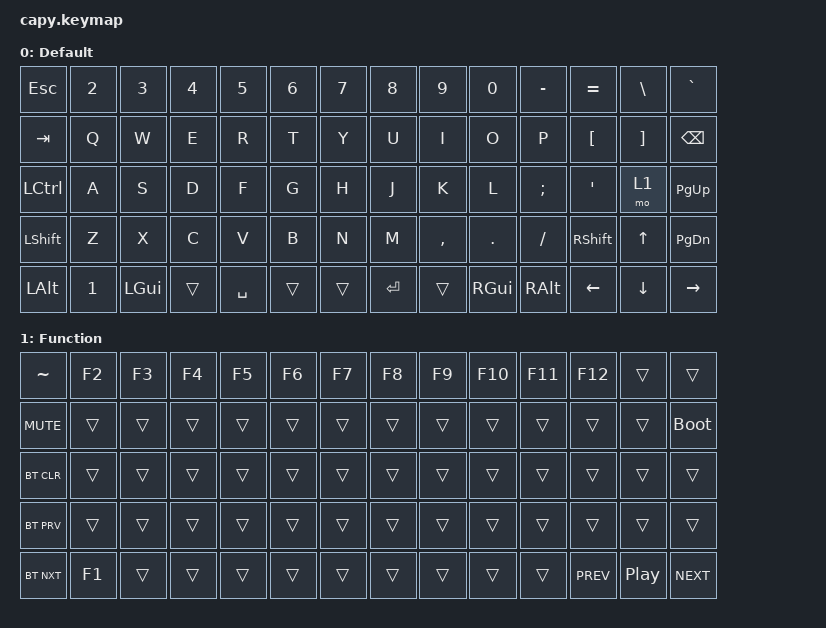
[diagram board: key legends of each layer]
/*
 * Copyright (c) 2022 Atneya Nair
 *
 * SPDX-License-Identifier: MIT
 */

#include <behaviors.dtsi>
#include <dt-bindings/zmk/keys.h>
#include <dt-bindings/zmk/bt.h>

/ {

	keymap {
		compatible = "zmk,keymap";

		default_layer {
			label = "Default";
            // ------------------------------------------------------------------------------------------
            // |  ESC  |  2   |  3   |  4   |  5   |  6   |   7   |  8    |  9   |  0   |   -   |    =  |   \    |   `   |
            // |  TAB  |  Q   |  W   |  E   |  R   |  T   |   Y   |  U    |  I   |  O   |   P   |  [    |    ]   |  BKSP |
            // |  CTRL |  A   |  S   |  D   |  F   |  G   |   H   |  J    |  K   |  L   |   ;   |  '    |   FN   |  PGUP |
            // | SHIFT |  Z   |  X   |  C   |  V   |  B   |   N   |  M    |  ,   |  .   |   /   | RSHIFT|   UP   |  PGDN |
            // | LALT  |  1   | LGUI |      | SPACE|      |       | ENTER |      | RGUI | RALT  | LEFT  |  DOWN  | RIGHT |



			bindings = <
            &kp ESC   &kp N2    &kp N3    &kp N4    &kp N5    &kp N6    &kp N7    &kp N8    &kp N9  &kp N0    &kp MINUS &kp EQUAL &kp BSLH  &kp GRAVE 
            &kp TAB   &kp Q     &kp W     &kp E     &kp R     &kp T     &kp Y     &kp U     &kp I   &kp O     &kp P     &kp LBKT  &kp RBKT  &kp BKSP
            &kp LCTRL &kp A     &kp S     &kp D     &kp F     &kp G     &kp H     &kp J     &kp K   &kp L     &kp SEMI  &kp SQT   &mo 1     &kp PG_UP
            &kp LSHFT &kp Z     &kp X     &kp C     &kp V     &kp B     &kp N     &kp M     &kp COMMA &kp DOT &kp FSLH  &kp RSHFT &kp UP    &kp PG_DN
            &kp LALT  &kp N1    &kp LGUI  &trans    &kp SPACE &trans    &trans    &kp RET   &trans  &kp RGUI  &kp RALT  &kp LEFT  &kp DOWN  &kp RIGHT
			>;
		};
		
		function_layer {
			label = "Function";
			
			bindings = <
            &kp TILDE  &kp F2    &kp F3    &kp F4    &kp F5    &kp F6    &kp F7    &kp F8  &kp F9    &kp F10   &kp F11   &kp F12   &trans   &trans
            &kp C_MUTE &trans    &trans    &trans    &trans    &trans    &trans    &trans  &trans    &trans    &trans    &trans    &trans   &bootloader
            &bt BT_CLR &trans    &trans    &trans    &trans    &trans    &trans    &trans  &trans    &trans    &trans    &trans    &trans   &trans
            &bt BT_PRV &trans    &trans    &trans    &trans    &trans    &trans    &trans  &trans    &trans    &trans    &trans    &trans   &trans
            &bt BT_NXT &kp F1    &trans    &trans    &trans    &trans    &trans    &trans  &trans    &trans    &trans    &kp C_PREV &kp C_PP &kp C_NEXT
			>;
		};
	};
};
